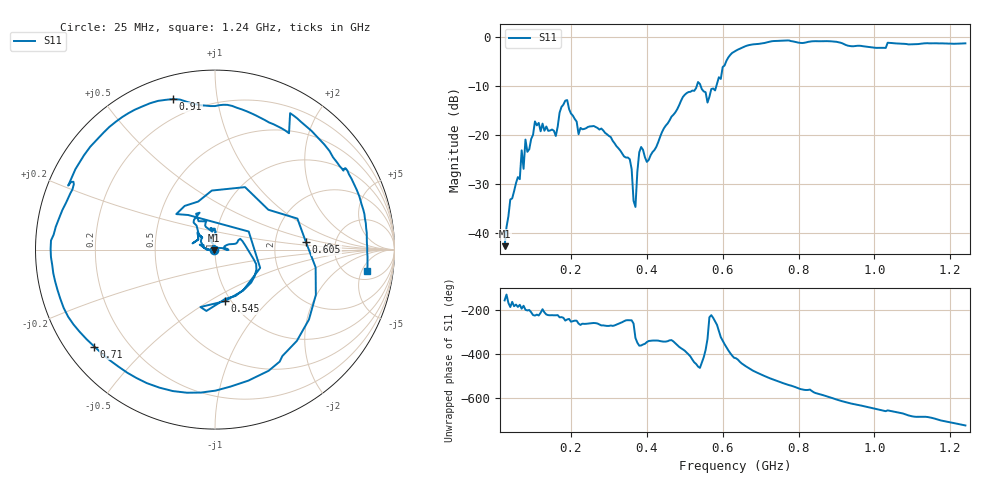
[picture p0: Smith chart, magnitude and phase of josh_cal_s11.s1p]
!Created with skrf (http://scikit-rf.org).
# Hz S RI R 50.0
!freq ReS11 ImS11
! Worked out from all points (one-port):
!   244 points, 25 MHz to 1.24 GHz, reference 50 ohm
!   lowest |S11| = -42.7 dB at 25 MHz (marker M1), VSWR 1.01, Z = 49.3 - j0.305 ohm
!   |S11| at or under -10 dB: start of sweep to 531.9 MHz; 541.8 MHz to 583.6 MHz (41.87 MHz wide, 7.44 % of centre)
!   S11 on the Smith chart (normalised r, x): 25 MHz: 0.99, -0.01; 545 MHz: 0.94, -0.59; 605 MHz: 3.03, +0.33; 710 MHz: 0.08, -0.35; 910 MHz: 0.11, +0.75; 1.24 GHz: 7.22, -6.36
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2.5e7  -0.00663 -0.0031
4e7  -0.0218 0.00204
6.5e7  -0.0352 -0.00294
7e7  -0.0676 0.0156
7.5e7  -0.045 -0.000342
8e7  -0.0851 0.0276
1.6e8  -0.0709 0.0666
1.8e8  -0.1171 0.166
2.2e8  -0.0157 0.1002
3.3e8  -0.0137 0.0677
3.55e8  -0.0228 0.0516
3.7e8  0.0154 0.01
3.85e8  0.0751 -0.00207
4.05e8  0.0524 0.0181
4.85e8  0.1977 -0.0259
5.45e8  0.0542 -0.2872
5.55e8  0.2517 -0.102
5.7e8  -0.2155 0.1979
5.9e8  0.1676 0.348
6.05e8  0.5072 0.0402
6.35e8  0.3603 -0.6242
6.65e8  -0.1565 -0.7974
7.1e8  -0.6724 -0.5402
7.85e8  -0.8873 0.1265
9.1e8  -0.2329 0.8387
9.4e8  -0.0265 0.7996
1.09e9  0.6577 0.514
1.24e9  0.8478 -0.1178
